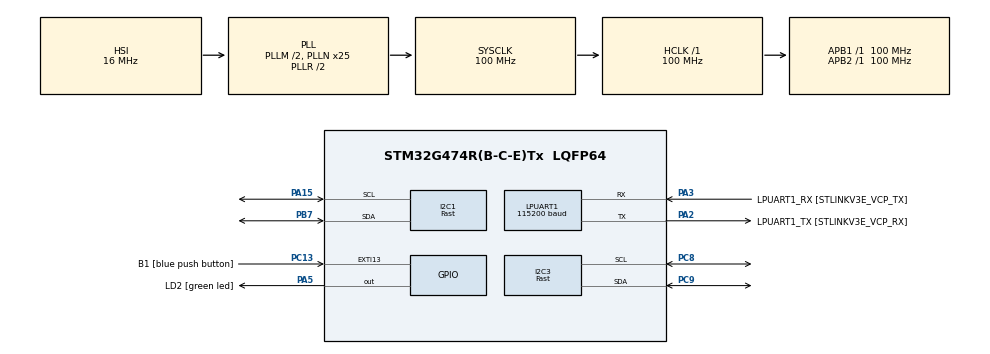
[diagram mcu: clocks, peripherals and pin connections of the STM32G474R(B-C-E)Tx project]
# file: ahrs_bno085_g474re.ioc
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I2C1.I2C_Fall_Time=10
I2C1.I2C_Rise_Time=10
I2C1.I2C_Speed_Mode=I2C_Fast
I2C1.Timing=0x00A034B4
I2C3.I2C_Speed_Mode=I2C_Fast
I2C3.Timing=0x10911A50
LPUART1.BaudRate=115200
LPUART1.WordLength=UART_WORDLENGTH_8B
Mcu.Family=STM32G4
Mcu.Name=STM32G474R(B-C-E)Tx
Mcu.Package=LQFP64
NVIC.EXTI15_10_IRQn=true\:0\:0\:false\:false\:true\:true\:true\:true
NVIC.PriorityGroup=NVIC_PRIORITYGROUP_4
PA13.GPIO_Label=T_SWDIO
PA13.Mode=Serial_Wire
PA13.Signal=SYS_JTMS-SWDIO
PA14.GPIO_Label=T_SWCLK
PA14.Mode=Serial_Wire
PA14.Signal=SYS_JTCK-SWCLK
PA15.Mode=I2C
PA15.Signal=I2C1_SCL
PA2.GPIO_Label=LPUART1_TX [STLINKV3E_VCP_RX]
PA2.Mode=Asynchronous
PA2.Signal=LPUART1_TX
PA3.GPIO_Label=LPUART1_RX [STLINKV3E_VCP_TX]
PA3.Mode=Asynchronous
PA3.Signal=LPUART1_RX
PA5.GPIO_Label=LD2 [green led]
PA5.Signal=GPIO_Output
PB3.GPIO_Label=T_SWO
PB3.Signal=SYS_JTDO-SWO
PB7.Mode=I2C
PB7.Signal=I2C1_SDA
PC13.GPIO_Label=B1 [blue push button]
PC13.Signal=GPXTI13
PC14-OSC32_IN.Mode=LSE-External-Oscillator
PC14-OSC32_IN.Signal=RCC_OSC32_IN
PC15-OSC32_OUT.Mode=LSE-External-Oscillator
PC15-OSC32_OUT.Signal=RCC_OSC32_OUT
PC8.Mode=I2C
PC8.Signal=I2C3_SCL
PC9.Mode=I2C
PC9.Signal=I2C3_SDA
PF0-OSC_IN.Mode=HSE-External-Oscillator
PF0-OSC_IN.Signal=RCC_OSC_IN
PF1-OSC_OUT.Mode=HSE-External-Oscillator
PF1-OSC_OUT.Signal=RCC_OSC_OUT
ProjectManager.HeapSize=0x200
ProjectManager.StackSize=0x400
ProjectManager.TargetToolchain=STM32CubeIDE
RCC.ADC12Freq_Value=100000000
RCC.ADC345Freq_Value=100000000
RCC.AHBFreq_Value=100000000
RCC.APB1Freq_Value=100000000
RCC.APB1TimFreq_Value=100000000
RCC.APB2Freq_Value=100000000
RCC.APB2TimFreq_Value=100000000
RCC.CortexFreq_Value=100000000
RCC.EXTERNAL_CLOCK_VALUE=12288000
RCC.HCLKFreq_Value=100000000
RCC.HSE_VALUE=24000000
RCC.HSI48_VALUE=48000000
RCC.HSI_VALUE=16000000
RCC.PLLM=RCC_PLLM_DIV2
RCC.PLLN=25
RCC.RTCClockSelection=RCC_RTCCLKSOURCE_LSE
RCC.SYSCLKFreq_VALUE=100000000
RCC.SYSCLKSource=RCC_SYSCLKSOURCE_PLLCLK
RCC.USBFreq_Value=100000000
RCC.VCOOutputFreq_Value=200000000
VP_SYS_VS_DBSignals.Mode=DisableDeadBatterySignals
board=NUCLEO-G474RE

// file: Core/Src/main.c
/* USER CODE BEGIN Header */
/**
 ******************************************************************************
 * @file           : main.c
 * @brief          : Main program body
 ******************************************************************************
 * @attention
 *
 * Copyright (c) 2024 STMicroelectronics.
 * All rights reserved.
 *
 * This software is licensed under terms that can be found in the LICENSE file
 * in the root directory of this software component.
 * If no LICENSE file comes with this software, it is provided AS-IS.
 *
 ******************************************************************************
 */
/* USER CODE END Header */
#include "main.h"
#include "i2c.h"
#include "usart.h"
#include "gpio.h"

/* USER CODE BEGIN Includes */
#include <stdio.h>
#include <stdlib.h>
#include <string.h>
#include <math.h>
#include "ssd1306.h"
/* USER CODE END Includes */

/* USER CODE BEGIN PD */
#define RAD_TO_DEG (180.0/M_PI)
//#define SCALE_Q(n) (1.0 / (1 << n))
#define SCALE_Q(n) (pow(0.5, n))
//#define BNO_I2C_ADDRESS (0x4A << 1) // Adafruit
#define BNO_I2C_ADDRESS (0x4B << 1) // SparkFun BNO086
#define BNO_I2C_HANDLE &hi2c1
#define BNO_MSG_LENGTH 21
#define BNO_READ_PERIOD 20 // ms
/* USER CODE END PD */

/* USER CODE BEGIN PV */
uint8_t START_BNO_STABILIZED_ROTATION_VECTOR_100_HZ[/* BNO_MSG_LENGTH */] =
{ 0x15, 0x00, 0x02, 0x00, 0xFD, 0x28, 0x00, 0x00, 0x00, 0x10, 0x27, 0x00, 0x00,
		0x00, 0x00, 0x00, 0x00, 0x00, 0x00, 0x00, 0x00 };
/* https://www.ceva-ip.com/wp-content/uploads/2019/10/SH-2-Reference-Manual.pdf
 * 6.5.4 Set Feature Command (0xFD)
 * Hint: 0x00002710 = 10000 us (100 Hz)
 */

uint8_t FishedOutMessage[BNO_MSG_LENGTH];
uint8_t BnoRxBuff[BNO_MSG_LENGTH];
int16_t Data1;
int16_t Data2;
int16_t Data3;
int16_t Data4;

double Yaw, Pitch, Roll;
double Qi, Qj, Qk, Qr;

char lcd_line[64];
uint32_t BnoSoftTimer;
/* USER CODE END PV */

void SystemClock_Config(void);

int main(void)
{

  /* MCU Configuration--------------------------------------------------------*/

  /* Reset of all peripherals, Initializes the Flash interface and the Systick. */
  HAL_Init();

  /* Configure the system clock */
  SystemClock_Config();

  /* Initialize all configured peripherals */
  MX_GPIO_Init();
  MX_LPUART1_UART_Init();
  MX_I2C1_Init();
  MX_I2C3_Init();
  /* USER CODE BEGIN 2 */

	ssd1306_Init();
	ssd1306_Fill(Black);
	ssd1306_SetCursor(20, 0);
	ssd1306_WriteString("ufnalski.edu.pl", Font_6x8, White);
	ssd1306_SetCursor(7, 11);
	ssd1306_WriteString("BNO085/86 9-DoF AHRS", Font_6x8, White);
	ssd1306_UpdateScreen();

	HAL_I2C_Master_Transmit(BNO_I2C_HANDLE, BNO_I2C_ADDRESS,
			START_BNO_STABILIZED_ROTATION_VECTOR_100_HZ,
			sizeof(START_BNO_STABILIZED_ROTATION_VECTOR_100_HZ), 10);
	HAL_Delay(100);

	BnoSoftTimer = HAL_GetTick();
  /* USER CODE END 2 */

  /* Infinite loop */
  /* USER CODE BEGIN WHILE */
	while (1)
	{

		if (HAL_GetTick() - BnoSoftTimer > BNO_READ_PERIOD)
		{
			BnoSoftTimer = HAL_GetTick();

			HAL_I2C_Master_Receive(BNO_I2C_HANDLE, BNO_I2C_ADDRESS, BnoRxBuff,
					BNO_MSG_LENGTH, 10);

			if ((BnoRxBuff[9] == 0x28))
			/* https://www.ceva-ip.com/wp-content/uploads/2019/10/SH-2-Reference-Manual.pdf
			 * 6.5.42 ARVR-Stabilized Rotation Vector (0x28)
			 */
			{
				memcpy(FishedOutMessage, BnoRxBuff, BNO_MSG_LENGTH);
				Data1 = (((uint16_t) FishedOutMessage[14]) << 8)
						| FishedOutMessage[13];
				Data2 = (((uint16_t) FishedOutMessage[16]) << 8)
						| FishedOutMessage[15];
				Data3 = (((uint16_t) FishedOutMessage[18]) << 8)
						| FishedOutMessage[17];
				Data4 = (((uint16_t) FishedOutMessage[20]) << 8)
						| FishedOutMessage[19];

				Qi = ((double) Data2) * SCALE_Q(14);
				Qj = ((double) Data3) * SCALE_Q(14);
				Qk = ((double) Data4) * SCALE_Q(14);
				Qr = ((double) Data1) * SCALE_Q(14);

				Yaw = atan2(2.0 * (Qi * Qj + Qk * Qr),
						(Qi * Qi - Qj * Qj - Qk * Qk + Qr * Qr)) * RAD_TO_DEG;
				Pitch =
						asin(
								-2.0 * (Qi * Qk - Qj * Qr)
										/ (Qi * Qi + Qj * Qj + Qk * Qk + Qr * Qr)) * RAD_TO_DEG;
				Roll = atan2(2.0 * (Qj * Qk + Qi * Qr),
						(-Qi * Qi - Qj * Qj + Qk * Qk + Qr * Qr)) * RAD_TO_DEG;

				ssd1306_SetCursor(5, 25);
				sprintf(lcd_line, "Heading: %7.2f deg  ", Roll);
				ssd1306_WriteString(lcd_line, Font_6x8, White);

				ssd1306_SetCursor(5, 37);
				sprintf(lcd_line, "Roll   : %7.2f deg  ", Yaw);
				ssd1306_WriteString(lcd_line, Font_6x8, White);

				ssd1306_SetCursor(5, 49);
				sprintf(lcd_line, "Pitch  : %7.2f deg  ", Pitch);
				ssd1306_WriteString(lcd_line, Font_6x8, White);
				ssd1306_UpdateScreen(); // this single line alone probably adds more than BNO_READ_PERIOD :)
			}
		}

    /* USER CODE END WHILE */

	}
}

void SystemClock_Config(void)
{
  RCC_OscInitTypeDef RCC_OscInitStruct = {0};
  RCC_ClkInitTypeDef RCC_ClkInitStruct = {0};

  /** Configure the main internal regulator output voltage
  */
  HAL_PWREx_ControlVoltageScaling(PWR_REGULATOR_VOLTAGE_SCALE1);

  /** Initializes the RCC Oscillators according to the specified parameters
  * in the RCC_OscInitTypeDef structure.
  */
  RCC_OscInitStruct.OscillatorType = RCC_OSCILLATORTYPE_HSI;
  RCC_OscInitStruct.HSIState = RCC_HSI_ON;
  RCC_OscInitStruct.HSICalibrationValue = RCC_HSICALIBRATION_DEFAULT;
  RCC_OscInitStruct.PLL.PLLState = RCC_PLL_ON;
  RCC_OscInitStruct.PLL.PLLSource = RCC_PLLSOURCE_HSI;
  RCC_OscInitStruct.PLL.PLLM = RCC_PLLM_DIV2;
  RCC_OscInitStruct.PLL.PLLN = 25;
  RCC_OscInitStruct.PLL.PLLP = RCC_PLLP_DIV2;
  RCC_OscInitStruct.PLL.PLLQ = RCC_PLLQ_DIV2;
  RCC_OscInitStruct.PLL.PLLR = RCC_PLLR_DIV2;
  if (HAL_RCC_OscConfig(&RCC_OscInitStruct) != HAL_OK)
  {
    Error_Handler();
  }

  /** Initializes the CPU, AHB and APB buses clocks
  */
  RCC_ClkInitStruct.ClockType = RCC_CLOCKTYPE_HCLK|RCC_CLOCKTYPE_SYSCLK
                              |RCC_CLOCKTYPE_PCLK1|RCC_CLOCKTYPE_PCLK2;
  RCC_ClkInitStruct.SYSCLKSource = RCC_SYSCLKSOURCE_PLLCLK;
  RCC_ClkInitStruct.AHBCLKDivider = RCC_SYSCLK_DIV1;
  RCC_ClkInitStruct.APB1CLKDivider = RCC_HCLK_DIV1;
  RCC_ClkInitStruct.APB2CLKDivider = RCC_HCLK_DIV1;

  if (HAL_RCC_ClockConfig(&RCC_ClkInitStruct, FLASH_LATENCY_3) != HAL_OK)
  {
    Error_Handler();
  }
}

void Error_Handler(void)
{
	__disable_irq();
	while (1)
	{
	}
}
